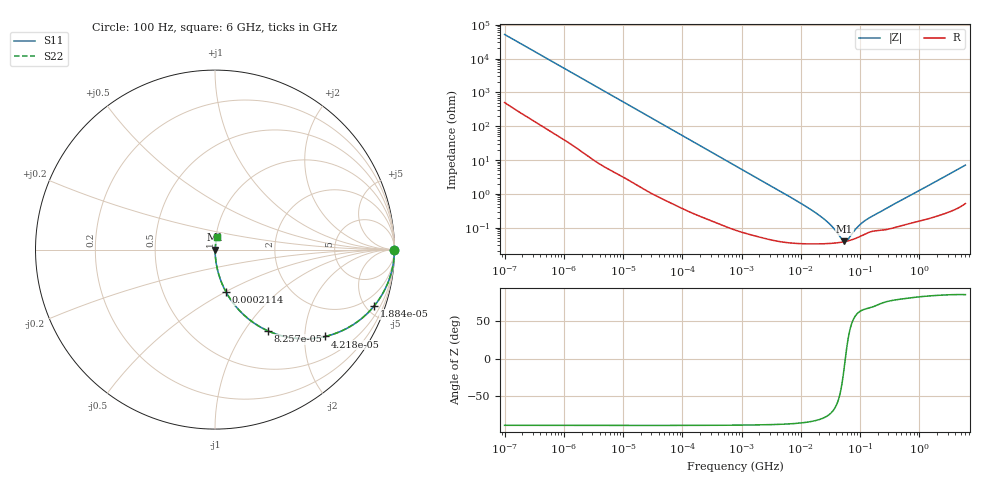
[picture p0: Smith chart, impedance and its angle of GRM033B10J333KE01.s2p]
!Murata Part Number: GRM033B10J333KE01
!These Parameters are Measured in Series Mode Connection
!Data Generated on Mar 30, 2021
!  o--ll--o
!Port1  Port2
!  o------o
!Operation Temp=25[degC], DC Bias Voltage=0[V]
!Freq. Start=100[Hz] Stop=6[GHz] 401[Steps]
# Hz S RI R 50
!Freq.(Hz) S11(Real) S11(Imag) S21(Real) S21(Imag) S12(Real) S12(Imag) S22(Real) S22(Imag)
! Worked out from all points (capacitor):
!   401 points, 100 Hz to 6 GHz, reference 50 ohm
!   read as one part in series: C = 30.7 nF near 109 Hz
!   lowest |Z| = 39.4 mohm at 54.5 MHz (marker M1)
!   series resonance near 56.44 MHz, so ESL is about 260 pH
!   S11 on the Smith chart (normalised r, x): 100 Hz: open; 18.84 kHz: 1.03, -5.63; 42.18 kHz: 1.02, -2.52; 82.57 kHz: 1.01, -1.29; 211.4 kHz: 1.00, -0.51; 6 GHz: 1.01, +0.14
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100  1 -0.00193  2.25e-05 0.00193  2.25e-05 0.00193  1 -0.00193
2008  0.9983 -0.0381  0.00171 0.0381  0.00171 0.0381  0.9983 -0.0381
7036  0.9818 -0.1307  0.0182 0.1307  0.0182 0.1307  0.9818 -0.1307
18841  0.8864 -0.3144  0.1136 0.3144  0.1136 0.3144  0.8864 -0.3144
26957  0.7935 -0.4019  0.2065 0.4019  0.2065 0.4019  0.7935 -0.4019
40335  0.6336 -0.4788  0.3664 0.4788  0.3664 0.4788  0.6336 -0.4788
42182  0.6128 -0.4841  0.3872 0.4841  0.3872 0.4841  0.6128 -0.4841
57709  0.4597 -0.4952  0.5403 0.4952  0.5403 0.4952  0.4597 -0.4952
82567  0.2952 -0.4528  0.7048 0.4528  0.7048 0.4528  0.2952 -0.4528
129199  0.1476 -0.3511  0.8524 0.3511  0.8524 0.3511  0.1476 -0.3511
211427  0.0618 -0.2368  0.9382 0.2368  0.9382 0.2368  0.0618 -0.2368
774597  0.00565 -0.069  0.9944 0.069  0.9944 0.069  0.00565 -0.069
1.555665e7  0.000343 -0.00323  0.9997 0.00323  0.9997 0.00323  0.000343 -0.00323
2.911731e7  0.000343 -0.00137  0.9997 0.00137  0.9997 0.00137  0.000343 -0.00137
3.64232e7  0.000352 -0.000869  0.9996 0.000869  0.9996 0.000869  0.000352 -0.000869
4.983056e7  0.000377 -0.000239  0.9996 0.000239  0.9996 0.000239  0.000377 -0.000239
5.449875e7  0.000388 -6.66e-05  0.9996 6.66e-05  0.9996 6.66e-05  0.000388 -6.66e-05
6.233367e7  0.000409 0.00019  0.9996 -0.00019  0.9996 -0.00019  0.000409 0.00019
8.918374e7  0.000506 0.000882  0.9995 -0.000882  0.9995 -0.000882  0.000506 0.000882
1.166697e8  0.000633 0.00142  0.9994 -0.00142  0.9994 -0.00142  0.000633 0.00142
3.124326e8  0.00094 0.00409  0.9991 -0.00409  0.9991 -0.00409  0.00094 0.00409
6e9  0.0101 0.0699  0.9899 -0.0699  0.9899 -0.0699  0.0101 0.0699
